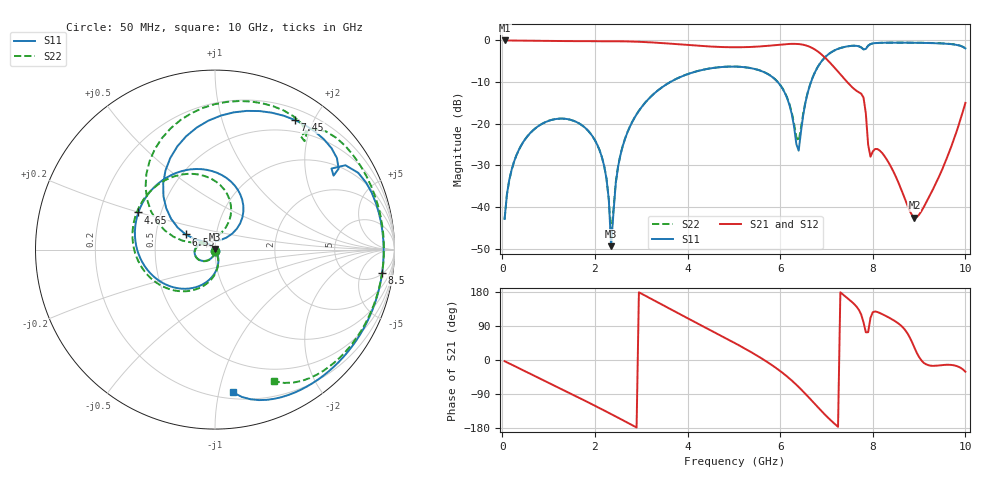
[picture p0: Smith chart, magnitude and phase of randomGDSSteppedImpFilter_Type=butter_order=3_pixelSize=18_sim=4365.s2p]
! freq	dB(S11)	phase(S11)	dB(S12)	phase(S12)
!  dB(S21)	phase(S21)	dB(S22)	phase(S22)
!S-par simulation data
#  GHz  S  DB  R 50
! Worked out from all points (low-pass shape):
!   200 points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, 50 MHz to 10 GHz, reference 50 ohm
!   highest |S21| = -0.01 dB at 50 MHz (marker M1); lowest = -42.5 dB at 8.9 GHz (marker M2)
!   |S21| within 3 dB of the highest: start of sweep to 6.854 GHz
!   lowest |S11| = -49.4 dB at 2.35 GHz (marker M3), VSWR 1.01, Z = 50.1 + j0.326 ohm
!   |S11| at or under -10 dB: start of sweep to 3.626 GHz; 5.948 GHz to 6.666 GHz (717.6 MHz wide, 11.4 % of centre)
!   |S22| runs from -46.8 to -0.5 dB; largest |S21 - S12| = 0
!   S11 on the Smith chart (normalised r, x): 50 MHz: 1.00, -0.01; 4.65 GHz: 0.37, +0.20; 6.55 GHz: 0.71, +0.12; 7.45 GHz: 0.34, +1.74; 8.5 GHz: 5, -12; 10 GHz: 0.25, -1.11
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0.05  -42.84 -91.3  -0.01 -3.1  -0.01 -3.1  -42.92 -92.0
0.2  -31.10 -101.6  -0.02 -12.2  -0.02 -12.2  -31.13 -101.3
0.55  -22.89 -124.0  -0.07 -33.2  -0.07 -33.2  -22.89 -122.9
1.75  -20.60 162.1  -0.16 -105.3  -0.16 -105.3  -20.61 166.3
2.2  -30.13 131.9  -0.17 -133.2  -0.17 -133.2  -30.15 143.2
2.35  -49.37 73.0  -0.18 -142.7  -0.18 -142.7  -46.85 -166.9
2.45  -34.31 -57.1  -0.19 -149.0  -0.19 -149.0  -34.08 -68.8
2.6  -25.38 -69.7  -0.21 -158.7  -0.21 -158.7  -25.32 -71.7
3.4  -11.65 -123.8  -0.60 149.2  -0.60 149.2  -11.64 -119.6
4.65  -6.47 154.1  -1.55 68.9  -1.55 68.9  -6.46 163.4
5.05  -6.29 127.5  -1.64 42.8  -1.64 42.8  -6.28 138.7
6  -10.71 57.2  -1.01 -29.1  -1.01 -29.1  -10.65 74.2
6.4  -26.45 112.8  -0.87 -71.2  -0.87 -71.2  -24.16 124.7
6.55  -14.70 152.6  -1.18 -89.9  -1.18 -89.9  -14.52 164.7
6.7  -8.95 139.7  -1.86 -109.6  -1.86 -109.6  -8.92 154.4
7.45  -1.42 58.3  -10.01 163.5  -10.01 163.5  -1.43 76.5
7.8  -2.17 32.0  -13.70 99.5  -13.70 99.5  -2.12 50.5
7.95  -0.86 28.2  -27.91 111.1  -27.91 111.1  -0.88 46.7
8.35  -0.54 0.5  -29.46 111.8  -29.46 111.8  -0.54 19.3
8.5  -0.53 -7.9  -32.74 101.0  -32.74 101.0  -0.53 10.8
8.9  -0.56 -28.3  -42.50 32.5  -42.50 32.5  -0.54 -9.8
10  -1.91 -82.7  -14.99 -30.9  -14.99 -30.9  -1.90 -65.8
